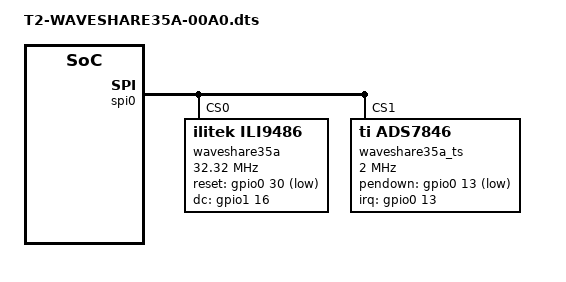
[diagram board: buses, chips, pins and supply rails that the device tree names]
/*
 * Based on waveshare35a-overlay.dts from
 * https://github.com/swkim01/waveshare-dtoverlays/blob/master/waveshare35a-overlay.dts
 * where it was posted without a license.
 *
 * Modifications for T2 on BBG by Dave Ackley, placed in the public domain.
 *
 */

/dts-v1/;
/plugin/;

#include <dt-bindings/gpio/gpio.h>
#include <dt-bindings/pinctrl/am33xx.h>
#include <dt-bindings/board/am335x-bbw-bbb-base.h>

/ {
	compatible = "ti,beaglebone", "ti,beaglebone-black";

	/* identification */
	part-number = "waveshare35a";
	version = "00A0";


	fragment@0 {
		target = <&spi0>;
		__overlay__ {
			status = "okay";

			spidev@0 {
				status = "disabled";
			};

			spidev@1 {
				status = "disabled";
			};
		};
	};

	/*
	 * Helper to show loaded overlays under: /proc/device-tree/chosen/overlays/
	 */
	fragment@1 {
		target-path="/";
		__overlay__ {

			chosen {
				overlays {
                                     T2-WAVESHARE35A-00A0 = __TIMESTAMP__;
				};
			};
		};
	};

	/*
	 * Free up the pins used by the cape from the pinmux helpers.
	 */
	fragment@2 {
		target = <&ocp>;
		__overlay__ {
			P9_22_pinmux { status = "disabled"; };	/* spi0_sclk */
			P9_18_pinmux { status = "disabled"; };	/* spi0_d1 */
			P9_21_pinmux { status = "disabled"; };	/* spi0_d0 */
			P9_17_pinmux { status = "disabled"; };	/* spi0_cs0 */
			P9_20_pinmux { status = "disabled"; };	/* TP_CS */
			P9_15_pinmux { status = "disabled"; };	/* DSP_DC */
			P9_11_pinmux { status = "disabled"; };	/* DSP_PWRON */
			P9_19_pinmux { status = "disabled"; };	/* TP_IRQ */
		};
	};

//fragment@3 unused

	fragment@4 {
		target = <&am33xx_pinmux>;
		__overlay__ {
			waveshare35a_pins: pinmux_waveshare35a_pins {
				pinctrl-single,pins = <
					BONE_P9_22 (PIN_INPUT_PULLUP | MUX_MODE0)	/* P9.22 spi0_sclk NB>>INPUT NOT OUTPUT!! */
					BONE_P9_18 (PIN_INPUT_PULLUP | MUX_MODE0)	/* P9.18 spi0_d1 */
					BONE_P9_21 (PIN_OUTPUT_PULLUP | MUX_MODE0)	/* P9.21 spi0_d0 */
					BONE_P9_17 (PIN_OUTPUT_PULLUP | MUX_MODE0)	/* P9.17 spi0_cs0 */
					BONE_P9_20 (PIN_OUTPUT_PULLUP | MUX_MODE7)	/* P9.20 TP_CS gpio0_12 gpio12 */
				>;
			};

			lcd_ctrl_pins: pinmux_lcd_ctrl_pins {
				pinctrl-single,pins = <
                                	BONE_P9_15 (PIN_OUTPUT_PULLUP | MUX_MODE7)	/* P9.15 DSP_DC gpio1_16 gpio48 */
                                        BONE_P9_11 (PIN_OUTPUT_PULLUP | MUX_MODE7)	/* P9.11 DSP_PWRON gpio0_30 gpio30 */
					BONE_P9_19 (PIN_INPUT_PULLUP | MUX_MODE7)	/* P9.19 TP_IRQ gpio0_13 gpio13 */
				>;
			};
		};
	};

	fragment@5 {
		target = <&spi0>;
		__overlay__ {
			/* needed to avoid dtc warning */
			#address-cells = <1>;
			#size-cells = <0>;

			ti,pindir-d0-out-d1-in = <1>; /* T2 uses d0 as out and d1 as in */


			waveshare35a: waveshare35a@0 {
				compatible = "ilitek,ili9486";
				reg = <0>;

                                pinctrl-names = "default";
			        pinctrl-0 = <&waveshare35a_pins &lcd_ctrl_pins>;

				spi-max-frequency = <32320000>;
				txbuflen = <32768>;
				rotate = <270>;
				bgr = <0>;
				fps = <15>;
				buswidth = <8>;
				regwidth = <16>;
				reset-gpios = <&gpio0 30 1>; /* Using custom reset code to drive DSP_PWRON */
         			dc-gpios = <&gpio1 16 0>;
				debug = <2>;

				init = <0x10000b0 0x00
				        0x1000011
					0x20000ff
					0x100003a 0x55
					0x1000036 0x28
					0x10000c2 0x44
					0x10000c5 0x00 0x00 0x00 0x00
					0x10000e0 0x0f 0x1f 0x1c 0x0c 0x0f 0x08 0x48 0x98 0x37 0x0a 0x13 0x04 0x11 0x0d 0x00
					0x10000e1 0x0f 0x32 0x2e 0x0b 0x0d 0x05 0x47 0x75 0x37 0x06 0x10 0x03 0x24 0x20 0x00
					0x10000e2 0x0f 0x32 0x2e 0x0b 0x0d 0x05 0x47 0x75 0x37 0x06 0x10 0x03 0x24 0x20 0x00
					/* piscreen -> waveshare35a */
					0x1000036 0x28
					0x1000011
					0x1000029>;
			};

			waveshare35a_ts: waveshare35a-ts@1 {
				compatible = "ti,ads7846";
				reg = <1>;

				spi-max-frequency = <2000000>;
				interrupts = <13 2>; /* high-to-low edge triggered */
				interrupt-parent = <&gpio0>;
				pendown-gpio = <&gpio0 13 1>;
				ti,x-plate-ohms = /bits/ 16 <60>;
				ti,pressure-max = /bits/ 16 <255>;
				ti,swap-xy = <1>;
			};
		};
	};
	__overrides__ {
		speed =		<&waveshare35a>,"spi-max-frequency:0";
		txbuflen =	<&waveshare35a>,"txbuflen:0";
		rotate =	<&waveshare35a>,"rotate:0";
		fps =		<&waveshare35a>,"fps:0";
		bgr =		<&waveshare35a>,"bgr:0";
		debug =		<&waveshare35a>,"debug:0";
		swapxy =	<&waveshare35a_ts>,"ti,swap-xy;0";
	};
};
